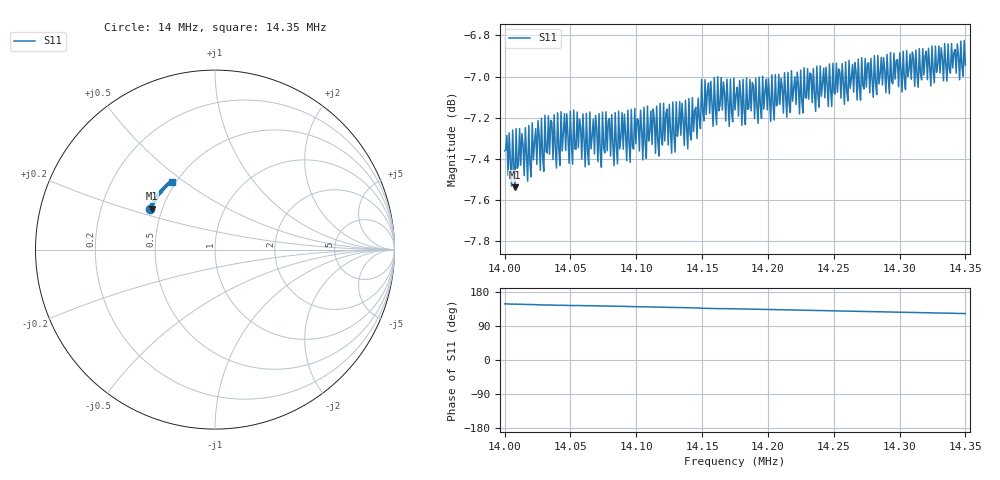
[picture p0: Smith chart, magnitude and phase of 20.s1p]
# Hz S RI R 50
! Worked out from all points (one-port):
!   401 points, 14 MHz to 14.35 MHz, reference 50 ohm
!   lowest |S11| = -7.5 dB at 14.008 MHz (marker M1), VSWR 2.45, Z = 21.9 + j12.2 ohm
!   |S11| at or under -10 dB: nowhere
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1.4e7  -0.3642 0.2257
1.400612e7  -0.3673 0.2303
1.400788e7  -0.3519 0.229
1.401488e7  -0.3519 0.2341
1.401838e7  -0.3643 0.237
1.40245e7  -0.3501 0.2413
1.403062e7  -0.3613 0.2461
1.403412e7  -0.3494 0.2465
1.404025e7  -0.3586 0.251
1.404375e7  -0.347 0.2513
1.404988e7  -0.3557 0.2558
1.405862e7  -0.3414 0.2557
1.406212e7  -0.3527 0.2591
1.406825e7  -0.3402 0.2593
1.407438e7  -0.3493 0.2641
1.407788e7  -0.3385 0.2628
1.4084e7  -0.346 0.2683
1.40875e7  -0.336 0.2667
1.413125e7  -0.323 0.2869
1.414e7  -0.3282 0.2949
1.4154e7  -0.3205 0.3059
1.415925e7  -0.3218 0.3095
1.4175e7  -0.3094 0.3106
1.419338e7  -0.3102 0.3212
1.421875e7  -0.294 0.3281
1.42625e7  -0.2775 0.3463
1.430625e7  -0.2601 0.3632
1.435e7  -0.2413 0.3793
